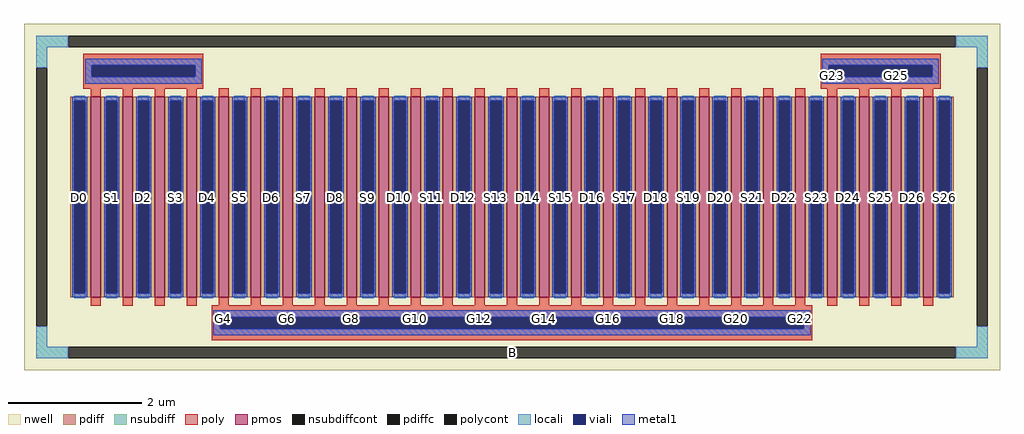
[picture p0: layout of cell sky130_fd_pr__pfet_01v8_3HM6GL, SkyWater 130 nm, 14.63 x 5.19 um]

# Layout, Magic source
magic
tech sky130A
magscale 1 2
<< nwell >>
rect -1463 -519 1463 519
<< pmos >>
rect -1263 -300 -1233 300
rect -1167 -300 -1137 300
rect -1071 -300 -1041 300
rect -975 -300 -945 300
rect -879 -300 -849 300
rect -783 -300 -753 300
rect -687 -300 -657 300
rect -591 -300 -561 300
rect -495 -300 -465 300
rect -399 -300 -369 300
rect -303 -300 -273 300
rect -207 -300 -177 300
rect -111 -300 -81 300
rect -15 -300 15 300
rect 81 -300 111 300
rect 177 -300 207 300
rect 273 -300 303 300
rect 369 -300 399 300
rect 465 -300 495 300
rect 561 -300 591 300
rect 657 -300 687 300
rect 753 -300 783 300
rect 849 -300 879 300
rect 945 -300 975 300
rect 1041 -300 1071 300
rect 1137 -300 1167 300
rect 1233 -300 1263 300
<< pdiff >>
rect -1325 288 -1263 300
rect -1325 -288 -1313 288
rect -1279 -288 -1263 288
rect -1325 -300 -1263 -288
rect -1233 288 -1167 300
rect -1233 -288 -1217 288
rect -1183 -288 -1167 288
rect -1233 -300 -1167 -288
rect -1137 288 -1071 300
rect -1137 -288 -1121 288
rect -1087 -288 -1071 288
rect -1137 -300 -1071 -288
rect -1041 288 -975 300
rect -1041 -288 -1025 288
rect -991 -288 -975 288
rect -1041 -300 -975 -288
rect -945 288 -879 300
rect -945 -288 -929 288
rect -895 -288 -879 288
rect -945 -300 -879 -288
rect -849 288 -783 300
rect -849 -288 -833 288
rect -799 -288 -783 288
rect -849 -300 -783 -288
rect -753 288 -687 300
rect -753 -288 -737 288
rect -703 -288 -687 288
rect -753 -300 -687 -288
rect -657 288 -591 300
rect -657 -288 -641 288
rect -607 -288 -591 288
rect -657 -300 -591 -288
rect -561 288 -495 300
rect -561 -288 -545 288
rect -511 -288 -495 288
rect -561 -300 -495 -288
rect -465 288 -399 300
rect -465 -288 -449 288
rect -415 -288 -399 288
rect -465 -300 -399 -288
rect -369 288 -303 300
rect -369 -288 -353 288
rect -319 -288 -303 288
rect -369 -300 -303 -288
rect -273 288 -207 300
rect -273 -288 -257 288
rect -223 -288 -207 288
rect -273 -300 -207 -288
rect -177 288 -111 300
rect -177 -288 -161 288
rect -127 -288 -111 288
rect -177 -300 -111 -288
rect -81 288 -15 300
rect -81 -288 -65 288
rect -31 -288 -15 288
rect -81 -300 -15 -288
rect 15 288 81 300
rect 15 -288 31 288
rect 65 -288 81 288
rect 15 -300 81 -288
rect 111 288 177 300
rect 111 -288 127 288
rect 161 -288 177 288
rect 111 -300 177 -288
rect 207 288 273 300
rect 207 -288 223 288
rect 257 -288 273 288
rect 207 -300 273 -288
rect 303 288 369 300
rect 303 -288 319 288
rect 353 -288 369 288
rect 303 -300 369 -288
rect 399 288 465 300
rect 399 -288 415 288
rect 449 -288 465 288
rect 399 -300 465 -288
rect 495 288 561 300
rect 495 -288 511 288
rect 545 -288 561 288
rect 495 -300 561 -288
rect 591 288 657 300
rect 591 -288 607 288
rect 641 -288 657 288
rect 591 -300 657 -288
rect 687 288 753 300
rect 687 -288 703 288
rect 737 -288 753 288
rect 687 -300 753 -288
rect 783 288 849 300
rect 783 -288 799 288
rect 833 -288 849 288
rect 783 -300 849 -288
rect 879 288 945 300
rect 879 -288 895 288
rect 929 -288 945 288
rect 879 -300 945 -288
rect 975 288 1041 300
rect 975 -288 991 288
rect 1025 -288 1041 288
rect 975 -300 1041 -288
rect 1071 288 1137 300
rect 1071 -288 1087 288
rect 1121 -288 1137 288
rect 1071 -300 1137 -288
rect 1167 288 1233 300
rect 1167 -288 1183 288
rect 1217 -288 1233 288
rect 1167 -300 1233 -288
rect 1263 288 1325 300
rect 1263 -288 1279 288
rect 1313 -288 1325 288
rect 1263 -300 1325 -288
<< pdiffc >>
rect -1313 -288 -1279 288
rect -1217 -288 -1183 288
rect -1121 -288 -1087 288
rect -1025 -288 -991 288
rect -929 -288 -895 288
rect -833 -288 -799 288
rect -737 -288 -703 288
rect -641 -288 -607 288
rect -545 -288 -511 288
rect -449 -288 -415 288
rect -353 -288 -319 288
rect -257 -288 -223 288
rect -161 -288 -127 288
rect -65 -288 -31 288
rect 31 -288 65 288
rect 127 -288 161 288
rect 223 -288 257 288
rect 319 -288 353 288
rect 415 -288 449 288
rect 511 -288 545 288
rect 607 -288 641 288
rect 703 -288 737 288
rect 799 -288 833 288
rect 895 -288 929 288
rect 991 -288 1025 288
rect 1087 -288 1121 288
rect 1183 -288 1217 288
rect 1279 -288 1313 288
<< nsubdiff >>
rect -1427 449 -1331 483
rect 1331 449 1427 483
rect -1427 387 -1393 449
rect 1393 387 1427 449
rect -1427 -449 -1393 -387
rect 1393 -449 1427 -387
rect -1427 -483 -1331 -449
rect 1331 -483 1427 -449
<< nsubdiffcont >>
rect -1331 449 1331 483
rect -1427 -387 -1393 387
rect 1393 -387 1427 387
rect -1331 -483 1331 -449
<< poly >>
rect -1285 395 -925 430
rect -1285 360 -1260 395
rect -950 360 -925 395
rect -1285 325 -925 360
rect 925 395 1285 430
rect 925 360 950 395
rect 1260 360 1285 395
rect -1263 300 -1233 325
rect -1167 300 -1137 325
rect -1071 300 -1041 325
rect -975 300 -945 325
rect -879 300 -849 326
rect -783 300 -753 326
rect -687 300 -657 326
rect -591 300 -561 326
rect -495 300 -465 326
rect -399 300 -369 326
rect -303 300 -273 326
rect -207 300 -177 326
rect -111 300 -81 326
rect -15 300 15 326
rect 81 300 111 326
rect 177 300 207 326
rect 273 300 303 326
rect 369 300 399 326
rect 465 300 495 326
rect 561 300 591 326
rect 657 300 687 326
rect 753 300 783 326
rect 849 300 879 326
rect 925 325 1285 360
rect 945 300 975 325
rect 1041 300 1071 325
rect 1137 300 1167 325
rect 1233 300 1263 325
rect -1263 -326 -1233 -300
rect -1167 -326 -1137 -300
rect -1071 -326 -1041 -300
rect -975 -326 -945 -300
rect -879 -325 -849 -300
rect -783 -325 -753 -300
rect -687 -325 -657 -300
rect -591 -325 -561 -300
rect -495 -325 -465 -300
rect -399 -325 -369 -300
rect -303 -325 -273 -300
rect -207 -325 -177 -300
rect -111 -325 -81 -300
rect -15 -325 15 -300
rect 81 -325 111 -300
rect 177 -325 207 -300
rect 273 -325 303 -300
rect 369 -325 399 -300
rect 465 -325 495 -300
rect 561 -325 591 -300
rect 657 -325 687 -300
rect 753 -325 783 -300
rect 849 -325 879 -300
rect -900 -360 900 -325
rect 945 -326 975 -300
rect 1041 -326 1071 -300
rect 1137 -326 1167 -300
rect 1233 -326 1263 -300
rect -900 -395 -875 -360
rect 875 -395 900 -360
rect -900 -430 900 -395
<< polycont >>
rect -1260 360 -950 395
rect 950 360 1260 395
rect -875 -395 875 -360
<< locali >>
rect -1427 449 -1331 483
rect 1331 449 1427 483
rect -1427 387 -1393 449
rect -1280 395 -930 415
rect -1280 360 -1260 395
rect -950 360 -930 395
rect -1280 340 -930 360
rect 930 395 1280 415
rect 930 360 950 395
rect 1260 360 1280 395
rect 930 340 1280 360
rect 1393 387 1427 449
rect -1313 288 -1279 304
rect -1313 -304 -1279 -288
rect -1217 288 -1183 304
rect -1217 -304 -1183 -288
rect -1121 288 -1087 304
rect -1121 -304 -1087 -288
rect -1025 288 -991 304
rect -1025 -304 -991 -288
rect -929 288 -895 304
rect -929 -304 -895 -288
rect -833 288 -799 304
rect -833 -304 -799 -288
rect -737 288 -703 304
rect -737 -304 -703 -288
rect -641 288 -607 304
rect -641 -304 -607 -288
rect -545 288 -511 304
rect -545 -304 -511 -288
rect -449 288 -415 304
rect -449 -304 -415 -288
rect -353 288 -319 304
rect -353 -304 -319 -288
rect -257 288 -223 304
rect -257 -304 -223 -288
rect -161 288 -127 304
rect -161 -304 -127 -288
rect -65 288 -31 304
rect -65 -304 -31 -288
rect 31 288 65 304
rect 31 -304 65 -288
rect 127 288 161 304
rect 127 -304 161 -288
rect 223 288 257 304
rect 223 -304 257 -288
rect 319 288 353 304
rect 319 -304 353 -288
rect 415 288 449 304
rect 415 -304 449 -288
rect 511 288 545 304
rect 511 -304 545 -288
rect 607 288 641 304
rect 607 -304 641 -288
rect 703 288 737 304
rect 703 -304 737 -288
rect 799 288 833 304
rect 799 -304 833 -288
rect 895 288 929 304
rect 895 -304 929 -288
rect 991 288 1025 304
rect 991 -304 1025 -288
rect 1087 288 1121 304
rect 1087 -304 1121 -288
rect 1183 288 1217 304
rect 1183 -304 1217 -288
rect 1279 288 1313 304
rect 1279 -304 1313 -288
rect -1427 -449 -1393 -387
rect -895 -360 895 -340
rect -895 -395 -875 -360
rect 875 -395 895 -360
rect -895 -415 895 -395
rect 1393 -449 1427 -387
rect -1427 -483 -1331 -449
rect 1331 -483 1427 -449
<< viali >>
rect -1260 360 -950 395
rect 950 360 1260 395
rect -1313 -288 -1279 288
rect -1217 -288 -1183 288
rect -1121 -288 -1087 288
rect -1025 -288 -991 288
rect -929 -288 -895 288
rect -833 -288 -799 288
rect -737 -288 -703 288
rect -641 -288 -607 288
rect -545 -288 -511 288
rect -449 -288 -415 288
rect -353 -288 -319 288
rect -257 -288 -223 288
rect -161 -288 -127 288
rect -65 -288 -31 288
rect 31 -288 65 288
rect 127 -288 161 288
rect 223 -288 257 288
rect 319 -288 353 288
rect 415 -288 449 288
rect 511 -288 545 288
rect 607 -288 641 288
rect 703 -288 737 288
rect 799 -288 833 288
rect 895 -288 929 288
rect 991 -288 1025 288
rect 1087 -288 1121 288
rect 1183 -288 1217 288
rect 1279 -288 1313 288
rect -875 -395 875 -360
<< metal1 >>
rect -1280 395 -930 415
rect -1280 360 -1260 395
rect -950 360 -930 395
rect -1280 340 -930 360
rect 930 395 1280 415
rect 930 360 950 395
rect 1260 360 1280 395
rect 930 340 1280 360
rect -1319 288 -1273 300
rect -1319 -288 -1313 288
rect -1279 -288 -1273 288
rect -1319 -300 -1273 -288
rect -1223 288 -1177 300
rect -1223 -288 -1217 288
rect -1183 -288 -1177 288
rect -1223 -300 -1177 -288
rect -1127 288 -1081 300
rect -1127 -288 -1121 288
rect -1087 -288 -1081 288
rect -1127 -300 -1081 -288
rect -1031 288 -985 300
rect -1031 -288 -1025 288
rect -991 -288 -985 288
rect -1031 -300 -985 -288
rect -935 288 -889 300
rect -935 -288 -929 288
rect -895 -288 -889 288
rect -935 -300 -889 -288
rect -839 288 -793 300
rect -839 -288 -833 288
rect -799 -288 -793 288
rect -839 -300 -793 -288
rect -743 288 -697 300
rect -743 -288 -737 288
rect -703 -288 -697 288
rect -743 -300 -697 -288
rect -647 288 -601 300
rect -647 -288 -641 288
rect -607 -288 -601 288
rect -647 -300 -601 -288
rect -551 288 -505 300
rect -551 -288 -545 288
rect -511 -288 -505 288
rect -551 -300 -505 -288
rect -455 288 -409 300
rect -455 -288 -449 288
rect -415 -288 -409 288
rect -455 -300 -409 -288
rect -359 288 -313 300
rect -359 -288 -353 288
rect -319 -288 -313 288
rect -359 -300 -313 -288
rect -263 288 -217 300
rect -263 -288 -257 288
rect -223 -288 -217 288
rect -263 -300 -217 -288
rect -167 288 -121 300
rect -167 -288 -161 288
rect -127 -288 -121 288
rect -167 -300 -121 -288
rect -71 288 -25 300
rect -71 -288 -65 288
rect -31 -288 -25 288
rect -71 -300 -25 -288
rect 25 288 71 300
rect 25 -288 31 288
rect 65 -288 71 288
rect 25 -300 71 -288
rect 121 288 167 300
rect 121 -288 127 288
rect 161 -288 167 288
rect 121 -300 167 -288
rect 217 288 263 300
rect 217 -288 223 288
rect 257 -288 263 288
rect 217 -300 263 -288
rect 313 288 359 300
rect 313 -288 319 288
rect 353 -288 359 288
rect 313 -300 359 -288
rect 409 288 455 300
rect 409 -288 415 288
rect 449 -288 455 288
rect 409 -300 455 -288
rect 505 288 551 300
rect 505 -288 511 288
rect 545 -288 551 288
rect 505 -300 551 -288
rect 601 288 647 300
rect 601 -288 607 288
rect 641 -288 647 288
rect 601 -300 647 -288
rect 697 288 743 300
rect 697 -288 703 288
rect 737 -288 743 288
rect 697 -300 743 -288
rect 793 288 839 300
rect 793 -288 799 288
rect 833 -288 839 288
rect 793 -300 839 -288
rect 889 288 935 300
rect 889 -288 895 288
rect 929 -288 935 288
rect 889 -300 935 -288
rect 985 288 1031 300
rect 985 -288 991 288
rect 1025 -288 1031 288
rect 985 -300 1031 -288
rect 1081 288 1127 300
rect 1081 -288 1087 288
rect 1121 -288 1127 288
rect 1081 -300 1127 -288
rect 1177 288 1223 300
rect 1177 -288 1183 288
rect 1217 -288 1223 288
rect 1177 -300 1223 -288
rect 1273 288 1319 300
rect 1273 -288 1279 288
rect 1313 -288 1319 288
rect 1273 -300 1319 -288
rect -895 -360 895 -340
rect -895 -395 -875 -360
rect 875 -395 895 -360
rect -895 -415 895 -395
<< labels >>
rlabel nsubdiffcont 0 -466 0 -466 0 B
port 1 nsew
rlabel pdiffc -1296 0 -1296 0 0 D0
port 2 nsew
rlabel pdiffc -1200 0 -1200 0 0 S1
port 4 nsew
rlabel pdiffc -1104 0 -1104 0 0 D2
port 6 nsew
rlabel pdiffc -1008 0 -1008 0 0 S3
port 8 nsew
rlabel pdiffc -912 0 -912 0 0 D4
port 10 nsew
rlabel polycont -864 -364 -864 -364 0 G4
port 11 nsew
rlabel pdiffc -816 0 -816 0 0 S5
port 12 nsew
rlabel pdiffc -720 0 -720 0 0 D6
port 14 nsew
rlabel polycont -672 -364 -672 -364 0 G6
port 15 nsew
rlabel pdiffc -624 0 -624 0 0 S7
port 16 nsew
rlabel pdiffc -528 0 -528 0 0 D8
port 18 nsew
rlabel polycont -480 -364 -480 -364 0 G8
port 19 nsew
rlabel pdiffc -432 0 -432 0 0 S9
port 20 nsew
rlabel pdiffc -336 0 -336 0 0 D10
port 22 nsew
rlabel polycont -288 -364 -288 -364 0 G10
port 23 nsew
rlabel pdiffc -240 0 -240 0 0 S11
port 24 nsew
rlabel pdiffc -144 0 -144 0 0 D12
port 26 nsew
rlabel polycont -96 -364 -96 -364 0 G12
port 27 nsew
rlabel pdiffc -48 0 -48 0 0 S13
port 28 nsew
rlabel pdiffc 48 0 48 0 0 D14
port 30 nsew
rlabel polycont 96 -364 96 -364 0 G14
port 31 nsew
rlabel pdiffc 144 0 144 0 0 S15
port 32 nsew
rlabel pdiffc 240 0 240 0 0 D16
port 34 nsew
rlabel polycont 288 -364 288 -364 0 G16
port 35 nsew
rlabel pdiffc 336 0 336 0 0 S17
port 36 nsew
rlabel pdiffc 432 0 432 0 0 D18
port 38 nsew
rlabel polycont 480 -364 480 -364 0 G18
port 39 nsew
rlabel pdiffc 528 0 528 0 0 S19
port 40 nsew
rlabel pdiffc 624 0 624 0 0 D20
port 42 nsew
rlabel polycont 672 -364 672 -364 0 G20
port 43 nsew
rlabel pdiffc 720 0 720 0 0 S21
port 44 nsew
rlabel pdiffc 816 0 816 0 0 D22
port 46 nsew
rlabel polycont 864 -364 864 -364 0 G22
port 47 nsew
rlabel pdiffc 912 0 912 0 0 S23
port 48 nsew
rlabel polycont 960 364 960 364 0 G23
port 49 nsew
rlabel pdiffc 1008 0 1008 0 0 D24
port 50 nsew
rlabel pdiffc 1104 0 1104 0 0 S25
port 52 nsew
rlabel polycont 1152 364 1152 364 0 G25
port 53 nsew
rlabel pdiffc 1200 0 1200 0 0 D26
port 54 nsew
rlabel pdiffc 1296 0 1296 0 0 S26
port 55 nsew
<< properties >>
string FIXED_BBOX -1410 -466 1410 466
string gencell sky130_fd_pr__pfet_01v8
string library sky130
string parameters w 3 l 0.15 m 1 nf 27 diffcov 100 polycov 100 guard 1 glc 1 grc 1 gtc 1 gbc 1 tbcov 100 rlcov 100 topc 1 botc 1 poverlap 0 doverlap 1 lmin 0.15 wmin 0.42 class mosfet compatible {sky130_fd_pr__pfet_01v8  sky130_fd_pr__pfet_01v8_lvt sky130_fd_pr__pfet_01v8_hvt  sky130_fd_pr__pfet_g5v0d10v5} full_metal 1 conn_gates 0 viasrc 100 viadrn 100 viagate 100 viagb 0 viagr 0 viagl 0 viagt 0 doports 1
<< end >>
